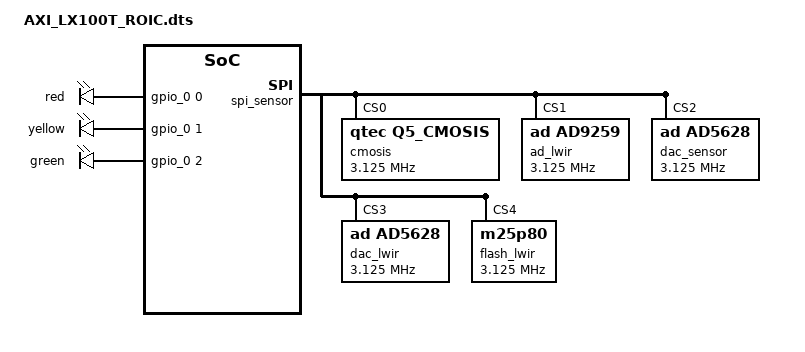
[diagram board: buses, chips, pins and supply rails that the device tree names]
/dts-v1/;

/include/ "qt5023.dtsi"

&axi1 {
		spi_sensor: spi_sensor {
			#address-cells = <1>;
			#size-cells = <1>;
			compatible = "xlnx,xps-spi-2.00.b";
			reg = < 0x300a0000 0x10000 >;
			interrupt-parent = <&xps_intc_0>;
			interrupts = < 4 2 >;
			xlnx,fifo-exist = <0x1>;
			xlnx,num-ss-bits = <33>;
			xlnx,num-transfer-bits = <0x8>;
			xlnx,sck-ratio = <0x20>;
			cmosis:cmosis {
				compatible = "qtec,q5_cmosis";
				reg = < 0 0>;
				spi-max-frequency = <3125000>;
				spi-cs-high;
				qtec,power_save = <0>;
			} ;
			ad_lwir:ad_lwir {
				compatible = "ad,ad9259";
				reg = < 1 1>;
				spi-max-frequency = <3125000>;
			} ;
			dac_sensor:dac_sensor {
				compatible = "ad,ad5628";
				reg = < 2 2>;
				spi-max-frequency = <3125000>;
				spi-cpol;
			} ;
			dac_lwir:dac_lwir {
				compatible = "ad,ad5628";
				reg = < 3 3>;
				spi-max-frequency = <3125000>;
				spi-cpol;
			} ;
			flash_lwir:flash@0 {
				#address-cells = <1>;
				#size-cells = <1>;
				fpga-flash ;
				compatible = "m25p80";
				reg = < 4 4>;
				spi-max-frequency = <3125000>;
				full@0{
					reg = < 0x0 0x100000 >;
					label = "Sensor Data";
				};
			};
		} ;

		/*pll_0: pll_0 {
			#address-cells = <1>;
			#size-cells = <1>;
		    	compatible = "qtec,axi_pll-1.00.a";
			reg = < 0x300b0000 0x1000 >;
	    	};
		cmosis_fg_0: cmosis_fg_0 {
			#address-cells = <1>;
			#size-cells = <1>;
		       	compatible = "qtec,axi_cmosis_if-1.00.a";
			reg = < 0x300c0000 0x10000 >;
			qtec,pll = < &pll_0 >;
			qtec,cmosis_device = < &cmosis >;
			qtec,pixel_clk = < 30000000 >;
			qtec,bus_clk =   < 85714285 >;
			qtec,sync_word = < 0xb13 >;
			qtec,bayer_chip = <1> ;
			qtec,bit_mode = < 12 >;
			qtec,sync_channels = < 4 >;
			qtec,offset = <0xffffffc3> ; // -61
			qtec,adc_gain = <50> ;
			qtec,vramp = <109> ;

	        };
		white_0: white_0 {
			#address-cells = <1>;
			#size-cells = <1>;
		    	compatible = "qtec,axi_white_balance-1.00.a";
			reg = < 0x300e0000 0x1000 >;
	    	};
		xform_0: xform_0 {
			#address-cells = <1>;
			#size-cells = <1>;
			compatible = "qtec,axi_fb_img_xform-1.03.a";
			reg = < 0x32000000 0x10000 >;
			qtec,dist_mem = <&distortion_mem_0>;
			qtec,buffer_size_pixels=< 57344 >;
			interrupt-parent = <&xps_intc_0>;
			interrupts = < 7 2 >;
		};
		testgen_0: testgen_0{
			#address-cells = <1>;
			#size-cells = <1>;
		     	compatible = "qtec,axi_fb_testgen-1.00.a";
			reg = < 0x30070000 0x10000 >;
			qtec,test_mem = <&testgen_mem_0>;
			interrupt-parent = <&xps_intc_0>;
			interrupts = < 6 2 >;
		};
		cdma_0: cdma_0{
			#address-cells = <1>;
			#size-cells = <1>;
		     	compatible = "xlnx,axi_cdma-3.04.a";
			reg = < 0x30020000 0x10000 >;
			interrupt-parent = <&xps_intc_0>;
			interrupts = < 3 2 >;

		};
		packer_0: packer_0{
			#address-cells = <1>;
			#size-cells = <1>;
		     	compatible = "qtec,axi_matrix_packer-1.00.a";
			reg = < 0x30050000 0x10000 >;
			qtec,serial_number = "Invalid Head Serial Number";
			qtec,bitstream_version = < 0 >;
			qtec,head_i2c_address = < 0 >;
			qtec,cdma = <&cdma_0>;
			qtec,desc_mem= <&cdma_desc_mem_0>;
			qtec,pcie_bridge= <&pcie_bridge_0>;
			qtec,aperture-addr= < 0  2 >;
			qtec,circular_buffer= <&video_mem_0>;
			qtec,white_balance= <&white_0>;
			qtec,sensor = <&cmosis_fg_0>;
			qtec,pll = < &pll_0 >;
			qtec,xform = <&xform_0>;
			qtec,testgen = <&testgen_0>;
			interrupt-parent = <&xps_intc_0>;
			interrupts = < 5 2 >;
		};*/

		pll_1: pll_1 {
			#address-cells = <1>;
			#size-cells = <1>;
		    	compatible = "qtec,axi_pll-1.00.a";
			reg = < 0x340b0000 0x1000 >;
	    	};
		roic_fg_1: roic_fg_1 {
			#address-cells = <1>;
			#size-cells = <1>;
		       	compatible = "qtec,axi-ingas-if-1.00.a";
			reg = < 0x340c0000 0x10000 >;
			qtec,pll = < &pll_1 >;
			qtec,manual_sync=<1>;
			qtec,base_clk=<600000000>;
			qtec,max_clk=  <14000000>;
			qtec,bus_clk=  <85714285>;
			qtec,ingas_chip = <0>;
			/*Subdevices*/
			qtec,dac_lwir = <&dac_lwir>;
			qtec,dac_sensor = <&dac_sensor>;
			qtec,ad_lwir = <&ad_lwir>;
			qtec,flash = <&flash_lwir>;
	        };
		white_1: white_1 {
			#address-cells = <1>;
			#size-cells = <1>;
		    	compatible = "qtec,axi_white_balance-1.00.a";
			reg = < 0x340e0000 0x1000 >;
	    	};
		cdma_1: cdma_1{
			#address-cells = <1>;
			#size-cells = <1>;
		     	compatible = "xlnx,axi_cdma-3.04.a";
			reg = < 0x34020000 0x10000 >;
			interrupt-parent = <&xps_intc_0>;
			interrupts = < 9 2 >;
		};
		packer_1: packer_1{
			#address-cells = <1>;
			#size-cells = <1>;
		     	compatible = "qtec,axi_matrix_packer-1.00.a";
			reg = < 0x34050000 0x10000 >;
			qtec,serial_number = "Invalid Head Serial Number";
			qtec,bitstream_version = < 0 >;
			qtec,head_i2c_address = < 0 >;
			qtec,cdma = <&cdma_1>;
			qtec,desc_mem= <&cdma_desc_mem_1>;
			qtec,pcie_bridge= <&pcie_bridge_0>;
			qtec,aperture-addr= < 0  4 >;
			qtec,circular_buffer= <&video_mem_1>;
			qtec,white_balance= <&white_1>;
			qtec,sensor = <&roic_fg_1>;
			qtec,pll = < &pll_1 >;
			interrupt-parent = <&xps_intc_0>;
			interrupts = < 8 2 >;
		};

		/*Leds*/
		leds {
			compatible = "gpio-leds";
			reg = < 0x30040000 010000 >;
			red {
				gpios = <&gpio_0 0 0>;
				linux,default-trigger = "drop-qt5023_video0";
			};
			yellow {
				gpios = <&gpio_0 1 0>;
				linux,default-trigger = "packer-qt5023_video0";
			};
			green {
				gpios = <&gpio_0 2 0>;
				linux,default-trigger = "heartbeat";
			};
		};

		gpio_0: gpio_0 {
			#gpio-cells = <2>;
			compatible = "xlnx,xps-gpio-1.00.a";
			reg = < 0x30040000 010000 >;
			xlnx,dout-default = < 0xffffffff >;
			xlnx,tri-default =  < 0xfffffff8 >;
			xlnx,gpio-width = < 5 >;
		};

		/*Memory resources*/
		cdma_desc_mem_0: cdma_desc_mem_0 {
			#address-cells = <1>;
			#size-cells = <1>;
		     	compatible = "qtec,memory-pool-1.00a";
			reg = < 0x38000000 0x4000 >;
			reg-axi = < 0x38000000 0x4000 >;
		};
		cdma_desc_mem_1: cdma_desc_mem_1 {
			#address-cells = <1>;
			#size-cells = <1>;
		     	compatible = "qtec,memory-pool-1.00a";
			reg = < 0x38010000 0x4000 >;
			reg-axi = < 0x38010000 0x4000 >;
		};
		video_mem_0: video_mem_0 {
			#address-cells = <1>;
			#size-cells = <1>;
		     	compatible = "qtec,memory-pool-1.00a";
			reg = < 0x10000000 0x2000000 >;
			reg-axi = < 0x10000000 0x2000000>;
		};
		video_mem_1: video_mem_1 {
			#address-cells = <1>;
			#size-cells = <1>;
		     	compatible = "qtec,memory-pool-1.00a";
			reg = < 0x12000000 0x2000000 >;
			reg-axi = < 0x12000000 0x1200000>;
		};
		distortion_mem_0: distortion_mem_0 {
			#address-cells = <1>;
			#size-cells = <1>;
		     	compatible = "qtec,memory-pool-1.00a";
			reg = < 0x14000000 0x2000000 >;
			reg-axi = < 0x14000000 0x2000000 >;
		};
		testgen_mem_0: testgen_mem_0 {
			#address-cells = <1>;
			#size-cells = <1>;
		     	compatible = "qtec,memory-pool-1.00a";
			reg = < 0x16000000 0x2000000 >;
			reg-axi = < 0x16000000 0x2000000 >;
		};


	};
